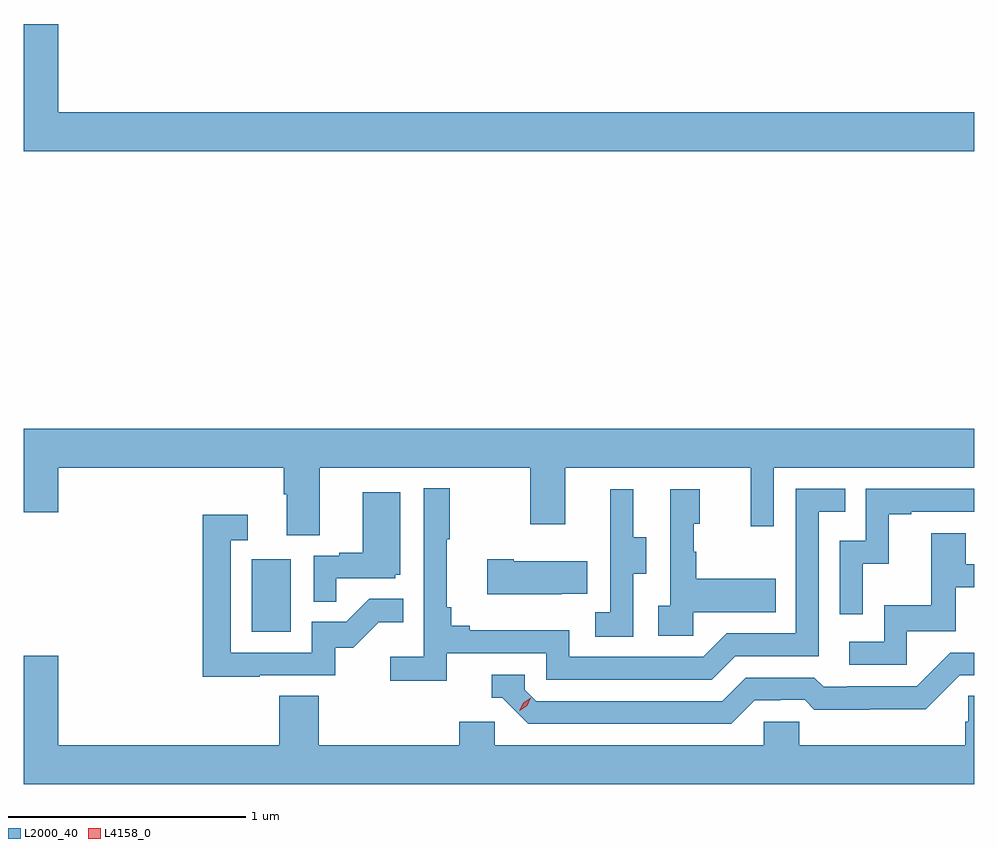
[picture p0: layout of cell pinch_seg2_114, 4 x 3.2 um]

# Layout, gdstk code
import gdstk
lib = gdstk.Library(unit=1e-6, precision=1e-09)
def R(c, l, rs):  # rectangles x0, y0, x1, y1
    for r in rs: c.add(gdstk.rectangle(r[:2], r[2:], *l))
def P(c, l, *ps):  # polygons
    for p in ps: c.add(gdstk.Polygon(p, *l))
L2000_40 = (2000, 40)
L4158_0 = (4158, 0)

pinch_seg2_114 = lib.new_cell('pinch_seg2_114')
R(pinch_seg2_114, L2000_40, [(1053.098,634.956,1053.262,635.263)])
P(pinch_seg2_114, L2000_40, [(1056.139,637.144),(1052.284,637.144),(1052.284,637.515),(1052.139,637.515),(1052.139,636.98),(1056.139,636.98)],
  [(1053.385,635.648),(1054.27,635.648),(1054.27,635.409),(1054.417,635.409),(1054.417,635.648),(1055.198,635.648),(1055.198,635.4),(1055.295,635.4),(1055.295,635.648),(1056.139,635.648),(1056.139,635.812),(1052.139,635.812),(1052.139,635.46),(1052.284,635.46),(1052.284,635.648),(1053.233,635.648),(1053.233,635.536),(1053.245,635.536),(1053.245,635.362),(1053.385,635.362)],
  [(1053.92,634.866),(1054.338,634.866),(1054.338,634.755),(1055.035,634.755),(1055.134,634.854),(1055.484,634.854),(1055.484,635.463),(1055.597,635.463),(1055.597,635.559),(1055.388,635.559),(1055.388,634.95),(1055.097,634.95),(1054.998,634.851),(1054.434,634.851),(1054.434,634.963),(1054.015,634.963),(1054.015,634.982),(1053.938,634.982),(1053.938,635.059),(1053.919,635.059),(1053.919,635.347),(1053.931,635.347),(1053.931,635.56),(1053.822,635.56),(1053.822,634.852),(1053.681,634.852),(1053.681,634.75),(1053.92,634.75)],
  [(1055.67,635.243),(1055.78,635.243),(1055.78,635.451),(1055.875,635.451),(1055.875,635.463),(1056.139,635.463),(1056.139,635.559),(1055.682,635.559),(1055.682,635.34),(1055.574,635.34),(1055.574,635.031),(1055.67,635.031)],
  [(1054.704,635.2),(1054.759,635.2),(1054.759,635.355),(1054.705,635.355),(1054.705,635.557),(1054.607,635.557),(1054.607,635.343),(1054.608,635.343),(1054.608,635.039),(1054.545,635.039),(1054.545,634.936),(1054.704,634.936)],
  [(1054.956,635.039),(1055.303,635.039),(1055.303,635.179),(1054.969,635.179),(1054.969,635.294),(1054.959,635.294),(1054.959,635.412),(1054.984,635.412),(1054.984,635.557),(1054.86,635.557),(1054.86,635.066),(1054.809,635.066),(1054.809,634.941),(1054.956,634.941)],
  [(1053.455,635.181),(1053.702,635.181),(1053.702,635.196),(1053.724,635.196),(1053.724,635.545),(1053.566,635.545),(1053.566,635.29),(1053.467,635.29),(1053.467,635.277),(1053.36,635.277),(1053.36,635.083),(1053.455,635.083)],
  [(1053.131,634.773),(1053.45,634.773),(1053.45,634.89),(1053.526,634.89),(1053.633,634.997),(1053.737,634.997),(1053.737,635.096),(1053.593,635.096),(1053.495,634.998),(1053.351,634.998),(1053.351,634.869),(1053.009,634.869),(1053.009,635.343),(1053.082,635.343),(1053.082,635.449),(1052.893,635.449),(1052.893,634.768),(1053.131,634.768)],
  [(1055.856,634.959),(1056.061,634.959),(1056.061,635.145),(1056.139,635.145),(1056.139,635.241),(1056.103,635.241),(1056.103,635.371),(1055.959,635.371),(1055.959,635.068),(1055.76,635.068),(1055.76,634.914),(1055.613,634.914),(1055.613,634.818),(1055.856,634.818)],
  [(1054.403,635.117),(1054.511,635.117),(1054.511,635.254),(1054.201,635.254),(1054.201,635.262),(1054.089,635.262),(1054.089,635.114),(1054.403,635.114)],
  [(1055.215,634.668),(1055.322,634.668),(1055.322,634.671),(1055.425,634.671),(1055.467,634.629),(1055.7,634.629),(1055.7,634.631),(1055.936,634.631),(1056.078,634.773),(1056.139,634.773),(1056.139,634.869),(1056.039,634.869),(1055.898,634.728),(1055.605,634.728),(1055.605,634.725),(1055.506,634.725),(1055.467,634.764),(1055.178,634.764),(1055.079,634.665),(1054.296,634.665),(1054.248,634.713),(1054.248,634.776),(1054.109,634.776),(1054.109,634.68),(1054.152,634.68),(1054.263,634.569),(1055.116,634.569)],
  [(1056.139,634.688),(1056.115,634.688),(1056.115,634.578),(1056.101,634.578),(1056.101,634.48),(1055.403,634.48),(1055.403,634.578),(1055.253,634.578),(1055.253,634.48),(1054.122,634.48),(1054.122,634.578),(1053.971,634.578),(1053.971,634.48),(1053.38,634.48),(1053.38,634.688),(1053.215,634.688),(1053.215,634.48),(1052.284,634.48),(1052.284,634.855),(1052.139,634.855),(1052.139,634.316),(1056.139,634.316)])
P(pinch_seg2_114, L4158_0, [(1054.227,634.625),(1054.227,634.626),(1054.242,634.659),(1054.272,634.679),(1054.272,634.679),(1054.272,634.679),(1054.257,634.646),(1054.227,634.625)])

lib.write_gds('pinch_seg2_114.gds')
